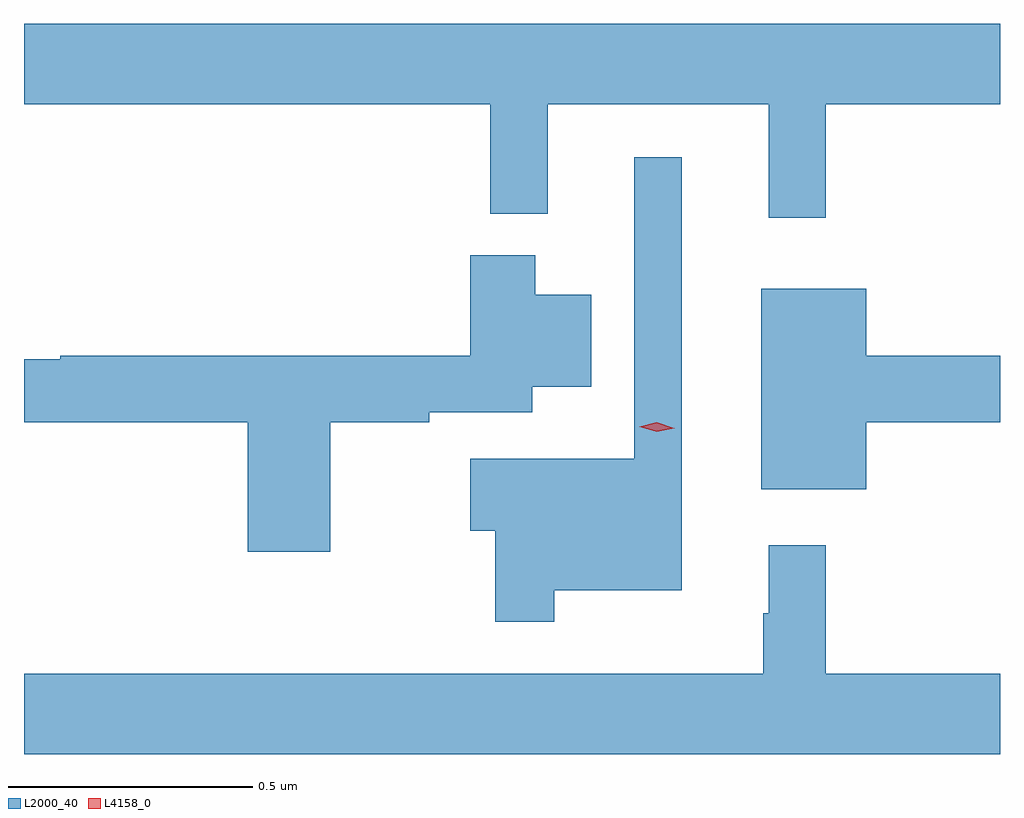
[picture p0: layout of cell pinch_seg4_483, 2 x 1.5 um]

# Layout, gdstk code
import gdstk
lib = gdstk.Library(unit=1e-6, precision=1e-09)
def P(c, l, *ps):  # polygons
    for p in ps: c.add(gdstk.Polygon(p, *l))
L2000_40 = (2000, 40)
L4158_0 = (4158, 0)

pinch_seg4_483 = lib.new_cell('pinch_seg4_483')
P(pinch_seg4_483, L2000_40, [(910.217,752.864),(910.574,752.864),(910.574,753.028),(908.574,753.028),(908.574,752.864),(909.529,752.864),(909.529,752.639),(909.647,752.639),(909.647,752.864),(910.1,752.864),(910.1,752.631),(910.217,752.631)],
  [(909.661,751.868),(909.922,751.868),(909.922,752.755),(909.825,752.755),(909.825,752.137),(909.488,752.137),(909.488,751.99),(909.54,751.99),(909.54,751.803),(909.661,751.803)],
  [(909.202,752.212),(909.404,752.212),(909.404,752.232),(909.616,752.232),(909.616,752.285),(909.736,752.285),(909.736,752.473),(909.622,752.473),(909.622,752.554),(909.488,752.554),(909.488,752.348),(908.648,752.348),(908.648,752.341),(908.574,752.341),(908.574,752.212),(909.032,752.212),(909.032,751.947),(909.202,751.947)],
  [(910.3,752.212),(910.574,752.212),(910.574,752.348),(910.3,752.348),(910.3,752.485),(910.085,752.485),(910.085,752.075),(910.3,752.075)],
  [(910.574,751.696),(910.217,751.696),(910.217,751.96),(910.1,751.96),(910.1,751.82),(910.089,751.82),(910.089,751.696),(908.574,751.696),(908.574,751.532),(910.574,751.532)])
P(pinch_seg4_483, L4158_0, [(909.871,752.192),(909.835,752.203),(909.835,752.203),(909.835,752.203),(909.871,752.212),(909.906,752.2),(909.907,752.2),(909.906,752.2)])

lib.write_gds('pinch_seg4_483.gds')
